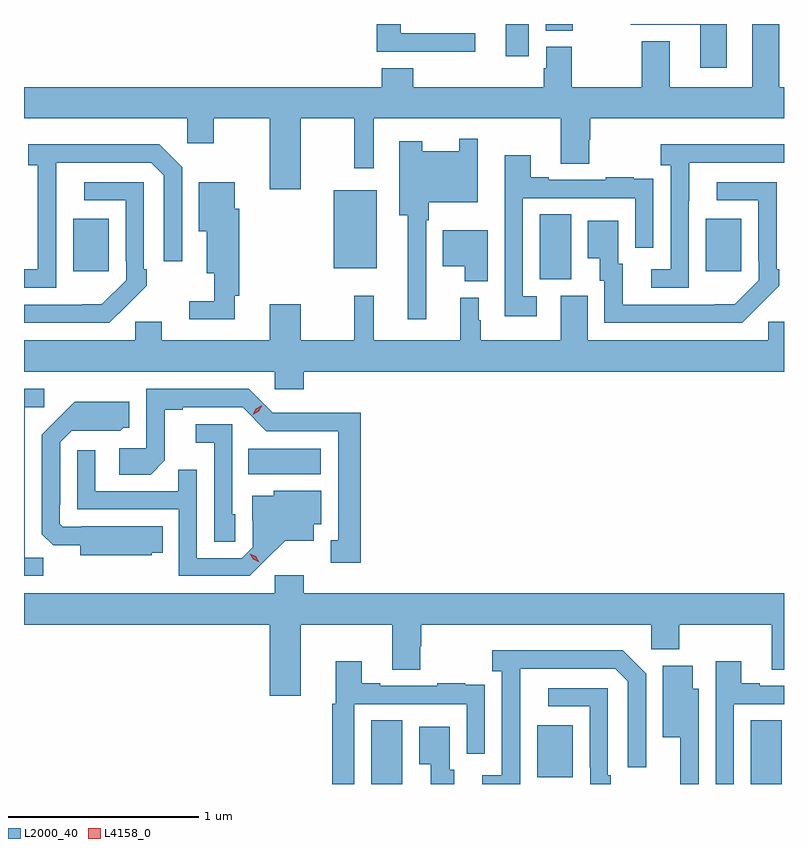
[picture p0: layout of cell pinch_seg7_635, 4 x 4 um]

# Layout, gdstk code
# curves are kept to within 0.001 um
import gdstk
lib = gdstk.Library(unit=1e-6, precision=1e-09)
def R(c, l, rs):  # rectangles x0, y0, x1, y1
    for r in rs: c.add(gdstk.rectangle(r[:2], r[2:], *l))
def P(c, l, *ps):  # polygons
    for p in ps: c.add(gdstk.Polygon(p, *l))
L2000_40 = (2000, 40)
L4158_0 = (4158, 0)

pinch_seg7_635 = lib.new_cell('pinch_seg7_635')
R(pinch_seg7_635, L2000_40, [(129.578,1009.101,129.742,1009.436), (131.576,1009.101,131.74,1009.436), (130.451,1009.137,130.639,1009.411), (128.932,1010.732,129.313,1010.866), (130.466,1011.757,130.63,1012.1), (128.009,1011.801,128.197,1012.075), (131.339,1011.801,131.527,1012.075), (129.38,1011.815,129.607,1012.225), (130.286,1012.932,130.408,1013.101), (130.496,1013.065,130.638,1013.101)])
P(pinch_seg7_635, L2000_40, [(131.449,1013.101),(130.945,1013.101),(130.945,1013.096),(131.309,1013.096),(131.309,1012.872),(131.449,1012.872)],
  [(130.126,1013.052),(129.733,1013.052),(129.733,1013.101),(129.608,1013.101),(129.608,1012.955),(130.126,1012.955)],
  [(129.208,1012.604),(129.49,1012.604),(129.49,1012.341),(129.592,1012.341),(129.592,1012.604),(130.577,1012.604),(130.577,1012.366),(130.725,1012.366),(130.725,1012.491),(130.73,1012.491),(130.73,1012.604),(131.751,1012.604),(131.751,1012.768),(131.725,1012.768),(131.725,1013.101),(131.585,1013.101),(131.585,1012.768),(131.149,1012.768),(131.149,1013.011),(131.002,1013.011),(131.002,1012.768),(130.635,1012.768),(130.635,1012.98),(130.499,1012.98),(130.499,1012.869),(130.487,1012.869),(130.487,1012.768),(129.8,1012.768),(129.8,1012.867),(129.635,1012.867),(129.635,1012.768),(127.751,1012.768),(127.751,1012.604),(128.61,1012.604),(128.61,1012.473),(128.749,1012.473),(128.749,1012.604),(129.044,1012.604),(129.044,1012.23),(129.208,1012.23)],
  [(129.867,1012.067),(129.88,1012.067),(129.88,1012.163),(130.14,1012.163),(130.14,1012.498),(130.043,1012.498),(130.043,1012.432),(129.847,1012.432),(129.847,1012.483),(129.725,1012.483),(129.725,1012.094),(129.77,1012.094),(129.77,1011.546),(129.867,1011.546)],
  [(131.25,1012.171),(131.251,1012.171),(131.251,1012.371),(131.751,1012.371),(131.751,1012.468),(131.103,1012.468),(131.103,1012.358),(131.154,1012.358),(131.154,1011.81),(131.052,1011.81),(131.052,1011.714),(131.25,1011.714)],
  [(127.92,1012.171),(127.921,1012.371),(128.421,1012.371),(128.487,1012.305),(128.487,1011.852),(128.583,1011.852),(128.583,1012.347),(128.462,1012.468),(127.773,1012.468),(127.773,1012.358),(127.824,1012.358),(127.824,1011.81),(127.751,1011.81),(127.751,1011.714),(127.92,1011.714)],
  [(130.45,1011.669),(130.377,1011.669),(130.377,1012.185),(130.968,1012.185),(130.968,1011.924),(131.064,1011.924),(131.064,1012.178),(131.063,1012.178),(131.063,1012.287),(130.961,1012.287),(130.961,1012.294),(130.813,1012.294),(130.813,1012.281),(130.513,1012.281),(130.513,1012.294),(130.417,1012.294),(130.417,1012.411),(130.28,1012.411),(130.28,1012.188),(130.281,1012.188),(130.281,1011.564),(130.45,1011.564)],
  [(128.291,1011.619),(128.292,1011.618),(128.397,1011.723),(128.397,1011.811),(128.382,1011.811),(128.382,1012.269),(128.067,1012.269),(128.067,1012.173),(128.286,1012.173),(128.286,1011.853),(128.289,1011.853),(128.289,1011.753),(128.161,1011.625),(127.751,1011.624),(127.751,1011.528),(128.2,1011.528)],
  [(131.621,1011.619),(131.622,1011.618),(131.727,1011.723),(131.727,1011.811),(131.712,1011.811),(131.712,1012.269),(131.397,1012.269),(131.397,1012.173),(131.616,1012.173),(131.616,1011.853),(131.619,1011.853),(131.619,1011.753),(131.491,1011.625),(130.903,1011.624),(130.903,1011.84),(130.879,1011.84),(130.879,1012.066),(130.718,1012.066),(130.718,1011.869),(130.781,1011.869),(130.781,1011.75),(130.806,1011.75),(130.806,1011.528),(131.53,1011.528)],
  [(128.861,1011.671),(128.885,1011.671),(128.885,1012.128),(128.86,1012.128),(128.86,1012.267),(128.672,1012.267),(128.672,1012.01),(128.714,1012.01),(128.714,1011.788),(128.751,1011.788),(128.751,1011.643),(128.622,1011.643),(128.622,1011.546),(128.861,1011.546)],
  [(130.192,1012.015),(129.956,1012.015),(129.956,1011.827),(130.07,1011.827),(130.07,1011.746),(130.192,1011.746)],
  [(129.224,1011.272),(131.751,1011.272),(131.751,1011.534),(131.667,1011.534),(131.667,1011.436),(130.717,1011.436),(130.717,1011.672),(130.577,1011.672),(130.577,1011.436),(130.156,1011.436),(130.156,1011.543),(130.144,1011.543),(130.144,1011.661),(130.046,1011.661),(130.046,1011.436),(129.593,1011.436),(129.593,1011.67),(129.49,1011.67),(129.49,1011.436),(129.208,1011.436),(129.208,1011.625),(129.044,1011.625),(129.044,1011.436),(128.476,1011.436),(128.476,1011.534),(128.337,1011.534),(128.337,1011.436),(127.751,1011.436),(127.751,1011.272),(129.072,1011.272),(129.072,1011.179),(129.224,1011.179)],
  [(127.851,1010.291),(127.755,1010.291),(127.755,1011.084),(127.858,1011.084),(127.858,1011.18),(127.751,1011.18),(127.751,1010.196),(127.851,1010.196)],
  [(129.523,1011.056),(129.282,1011.056),(129.282,1011.054),(129.06,1011.054),(128.934,1011.18),(128.394,1011.18),(128.394,1010.868),(128.253,1010.868),(128.253,1010.728),(128.417,1010.728),(128.493,1010.804),(128.493,1011.072),(128.587,1011.072),(128.587,1011.084),(128.901,1011.084),(129.027,1010.958),(129.404,1010.958),(129.404,1010.385),(129.365,1010.385),(129.365,1010.265),(129.523,1010.265)],
  [(128.424,1010.318),(128.48,1010.318),(128.48,1010.458),(128.056,1010.458),(128.056,1010.454),(127.956,1010.454),(127.938,1010.472),(127.938,1010.572),(127.941,1010.572),(127.941,1010.901),(128.001,1010.961),(128.258,1010.96),(128.274,1010.976),(128.305,1010.976),(128.305,1011.112),(128.017,1011.112),(127.845,1010.938),(127.845,1010.416),(127.904,1010.357),(128.048,1010.357),(128.048,1010.306),(128.424,1010.306)],
  [(128.862,1010.52),(128.847,1010.52),(128.847,1010.994),(128.655,1010.994),(128.655,1010.897),(128.751,1010.897),(128.751,1010.377),(128.862,1010.377)],
  [(129.022,1010.279),(129.125,1010.381),(129.277,1010.381),(129.277,1010.468),(129.316,1010.468),(129.316,1010.644),(129.066,1010.644),(129.066,1010.617),(128.951,1010.617),(128.951,1010.488),(128.955,1010.488),(128.955,1010.346),(128.898,1010.289),(128.661,1010.289),(128.661,1010.756),(128.563,1010.756),(128.563,1010.643),(128.127,1010.643),(128.127,1010.857),(128.031,1010.857),(128.031,1010.547),(128.565,1010.547),(128.565,1010.196),(128.938,1010.196)],
  [(129.208,1009.94),(129.689,1009.94),(129.689,1009.702),(129.837,1009.702),(129.837,1009.827),(129.842,1009.827),(129.842,1009.94),(131.052,1009.94),(131.052,1009.809),(131.199,1009.809),(131.199,1009.94),(131.687,1009.94),(131.687,1009.702),(131.751,1009.702),(131.751,1010.104),(129.224,1010.104),(129.224,1010.2),(129.072,1010.2),(129.072,1010.104),(127.751,1010.104),(127.751,1009.94),(129.044,1009.94),(129.044,1009.566),(129.208,1009.566)],
  [(130.362,1009.507),(130.363,1009.707),(130.863,1009.707),(130.929,1009.641),(130.929,1009.188),(131.025,1009.188),(131.025,1009.681),(130.902,1009.804),(130.215,1009.804),(130.215,1009.694),(130.266,1009.694),(130.266,1009.146),(130.164,1009.146),(130.164,1009.101),(130.362,1009.101)],
  [(131.487,1009.521),(131.751,1009.521),(131.751,1009.617),(131.623,1009.617),(131.623,1009.63),(131.527,1009.63),(131.527,1009.747),(131.391,1009.747),(131.391,1009.101),(131.487,1009.101)],
  [(129.489,1009.521),(130.08,1009.521),(130.08,1009.26),(130.176,1009.26),(130.176,1009.514),(130.175,1009.514),(130.175,1009.623),(130.073,1009.623),(130.073,1009.63),(129.925,1009.63),(129.925,1009.617),(129.625,1009.617),(129.625,1009.63),(129.529,1009.63),(129.529,1009.747),(129.392,1009.747),(129.392,1009.524),(129.373,1009.524),(129.373,1009.101),(129.489,1009.101)],
  [(131.301,1009.603),(131.272,1009.603),(131.272,1009.723),(131.114,1009.723),(131.114,1009.346),(131.204,1009.346),(131.204,1009.101),(131.301,1009.101)],
  [(130.839,1009.147),(130.824,1009.147),(130.824,1009.605),(130.509,1009.605),(130.509,1009.509),(130.728,1009.509),(130.728,1009.189),(130.731,1009.189),(130.731,1009.101),(130.839,1009.101)],
  [(130.015,1009.176),(129.991,1009.176),(129.991,1009.402),(129.83,1009.402),(129.83,1009.205),(129.893,1009.205),(129.893,1009.101),(130.015,1009.101)])
P(pinch_seg7_635, L4158_0, [(128.954,1011.044),(128.954,1011.044),(128.972,1011.077),(129.004,1011.095),(129.004,1011.095),(129.004,1011.095),(128.986,1011.063),(128.954,1011.044)],
  [(128.988,1010.269),(128.957,1010.284),(128.939,1010.314),(128.939,1010.314),(128.94,1010.314),(128.97,1010.299),(128.988,1010.269),(128.988,1010.269)])

lib.write_gds('pinch_seg7_635.gds')
